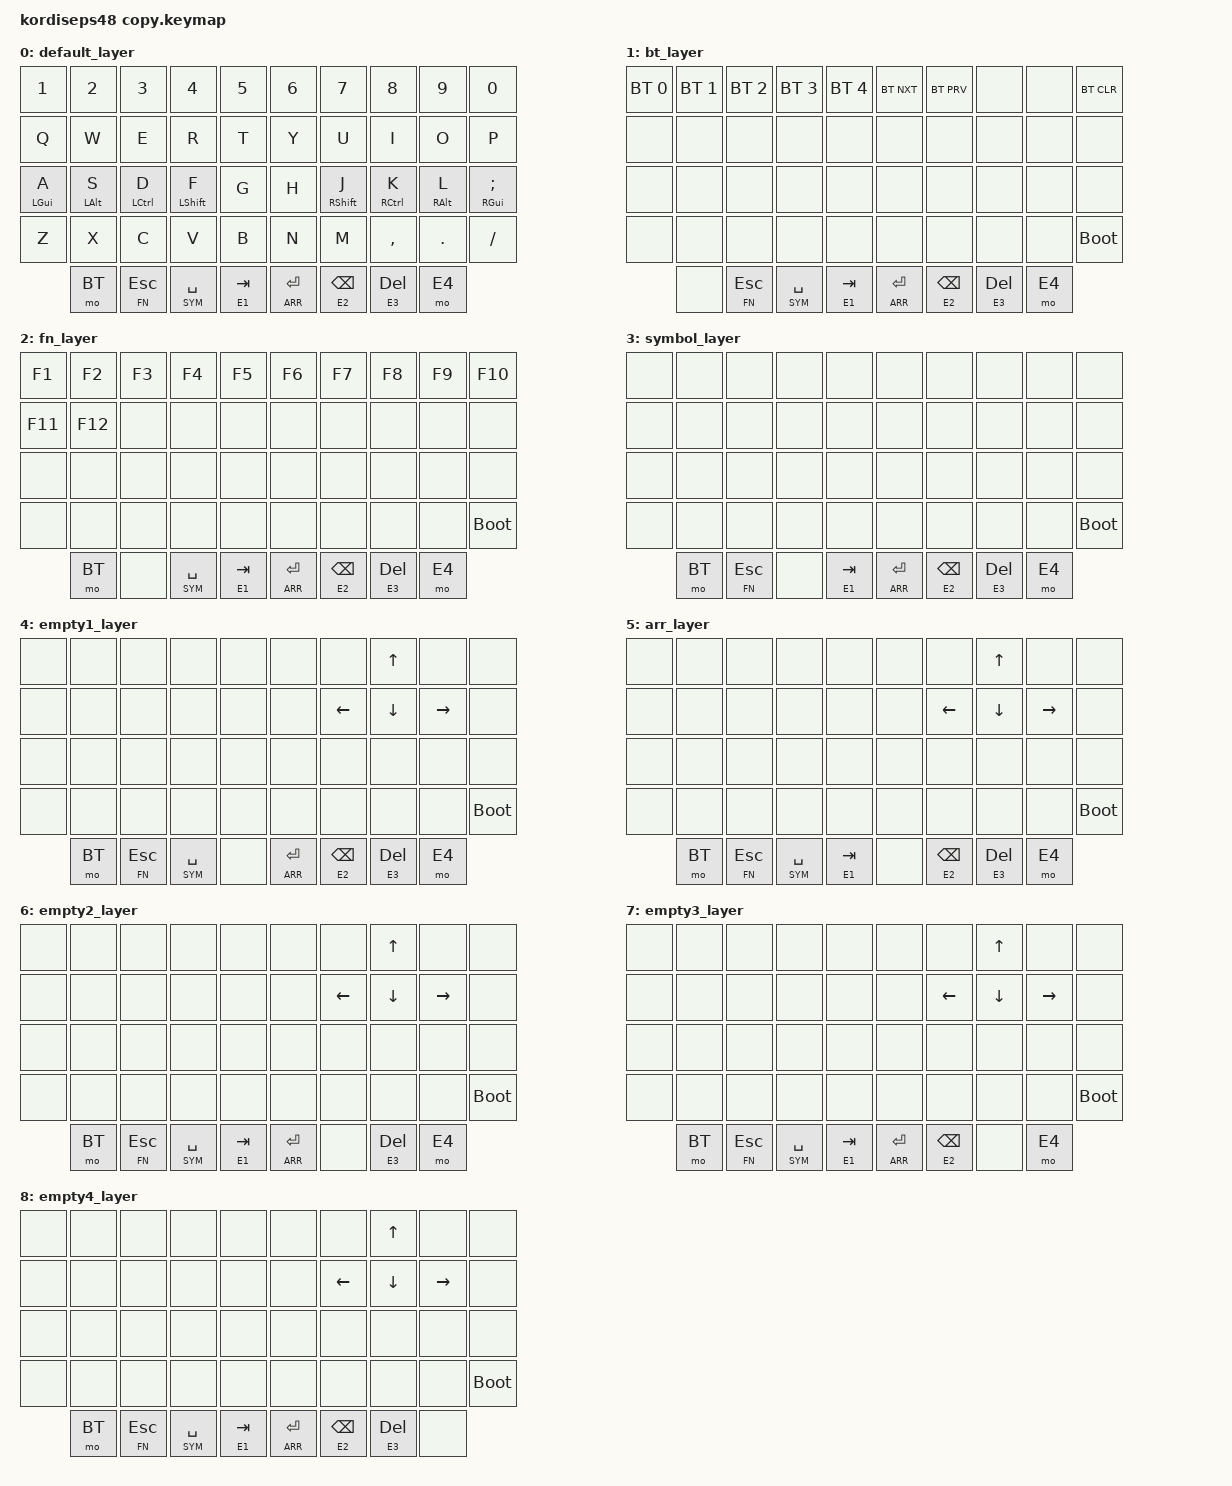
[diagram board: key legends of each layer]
#include <behaviors.dtsi>
#include <dt-bindings/zmk/keys.h>
#include <dt-bindings/zmk/bt.h>

#define DEFAULT 0
#define BT   1
#define FN   2
#define SYM  3
#define E1   4
#define ARR  5
#define E2   6
#define E3   7
#define E4   8

/ {
	keymap {
		compatible = "zmk,keymap"; 

		default_layer {
			bindings = <
                &kp N1      &kp N2     &kp N3      &kp N4        &kp N5          &kp N6      &kp N7           &kp N8      &kp N9     &kp N0 
                &kp  Q      &kp  W     &kp  E      &kp  R        &kp  T          &kp  Y      &kp  U           &kp  I      &kp  O     &kp  P 
                &mt LGUI A  &mt LALT S &mt LCTRL D &mt LSHFT F   &kp  G          &kp  H      &mt RSHFT J      &mt RCTRL K &mt RALT L &mt RGUI SEMICOLON 
                &kp  Z      &kp  X     &kp  C      &kp  V        &kp  B          &kp  N      &kp  M           &kp  COMMA  &kp  DOT   &kp  SLASH  
                            &mo  BT    &lt FN ESC  &lt SYM SPACE &lt E1 TAB      &lt ARR RET &lt E2 BACKSPACE &lt E3 DEL  &mo E4  
            >;
        };

        bt_layer {
			bindings = <
                &bt BT_SEL 0 &bt BT_SEL 1 &bt BT_SEL 2 &bt BT_SEL 3 &bt BT_SEL 4      &bt BT_NXT  &bt BT_PRV       &none        &none        &bt BT_CLR 
                &none        &none        &none        &none        &none             &none       &none            &none        &none        &none
                &none        &none        &none        &none        &none             &none       &none            &none        &none        &none
                &none        &none        &none        &none        &none             &none       &none            &none        &none        &bootloader
                             &none        &lt FN ESC   &lt SYM SPACE &lt E1 TAB       &lt ARR RET &lt E2 BACKSPACE &lt E3 DEL  &mo E4  
            >;
        };

        fn_layer{
			bindings = <
                &kp F1       &kp F2       &kp F3       &kp F4       &kp F5            &kp F6      &kp F7           &kp F8       &kp F9      &kp F10
                &kp F11      &kp F12      &none        &none        &none             &none       &none            &none        &none        &none
                &none        &none        &none        &none        &none             &none       &none            &none        &none        &none
                &none        &none        &none        &none        &none             &none       &none            &none        &none        &bootloader
                             &mo  BT      &none        &lt SYM SPACE &lt E1 TAB       &lt ARR RET &lt E2 BACKSPACE &lt E3 DEL  &mo E4  
            >;
        };


        symbol_layer{
			bindings = <
                &none        &none        &none        &none        &none             &none       &none            &none        &none        &none
                &none        &none        &none        &none        &none             &none       &none            &none        &none        &none
                &none        &none        &none        &none        &none             &none       &none            &none        &none        &none
                &none        &none        &none        &none        &none             &none       &none            &none        &none        &bootloader
                             &mo  BT      &lt FN ESC   &none        &lt E1 TAB        &lt ARR RET &lt E2 BACKSPACE &lt E3 DEL   &mo E4  
            >;
        };

        empty1_layer{
			bindings = <
                &none        &none        &none        &none        &none             &none       &none            &kp UP       &none        &none
                &none        &none        &none        &none        &none             &none       &kp LEFT         &kp DOWN     &kp RIGHT    &none        
                &none        &none        &none        &none        &none             &none       &none            &none        &none        &none
                &none        &none        &none        &none        &none             &none       &none            &none        &none        &bootloader
                             &mo  BT      &lt FN ESC   &lt SYM SPACE &none            &lt ARR RET &lt E2 BACKSPACE &lt E3 DEL   &mo E4  
            >;
        };

        arr_layer{
			bindings = <
                &none        &none        &none        &none        &none             &none       &none            &kp UP       &none        &none
                &none        &none        &none        &none        &none             &none       &kp LEFT         &kp DOWN     &kp RIGHT    &none   
                &none        &none        &none        &none        &none             &none       &none            &none        &none        &none
                &none        &none        &none        &none        &none             &none       &none            &none        &none        &bootloader
                             &mo  BT      &lt FN ESC   &lt SYM SPACE &lt E1 TAB       &none       &lt E2 BACKSPACE &lt E3 DEL   &mo E4  
            >;
        };

        empty2_layer{
			bindings = <
                &none        &none        &none        &none        &none             &none       &none            &kp UP       &none        &none
                &none        &none        &none        &none        &none             &none       &kp LEFT         &kp DOWN     &kp RIGHT    &none        
                &none        &none        &none        &none        &none             &none       &none            &none        &none        &none
                &none        &none        &none        &none        &none             &none       &none            &none        &none        &bootloader
                             &mo  BT      &lt FN ESC   &lt SYM SPACE &lt E1 TAB       &lt ARR RET &none            &lt E3 DEL   &mo E4  
            >;
        };

        empty3_layer{
			bindings = <
                &none        &none        &none        &none        &none             &none       &none            &kp UP       &none        &none
                &none        &none        &none        &none        &none             &none       &kp LEFT         &kp DOWN     &kp RIGHT    &none        
                &none        &none        &none        &none        &none             &none       &none            &none        &none        &none
                &none        &none        &none        &none        &none             &none       &none            &none        &none        &bootloader
                             &mo  BT      &lt FN ESC   &lt SYM SPACE &lt E1 TAB       &lt ARR RET &lt E2 BACKSPACE &none        &mo E4  
            >;
        };

        empty4_layer{
			bindings = <
                &none        &none        &none        &none        &none             &none       &none            &kp UP       &none        &none
                &none        &none        &none        &none        &none             &none       &kp LEFT         &kp DOWN     &kp RIGHT    &none        
                &none        &none        &none        &none        &none             &none       &none            &none        &none        &none
                &none        &none        &none        &none        &none             &none       &none            &none        &none        &bootloader
                             &mo  BT      &lt FN ESC   &lt SYM SPACE &lt E1 TAB       &lt ARR RET &lt E2 BACKSPACE &lt E3 DEL   &none 
            >;
        };
    };
};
